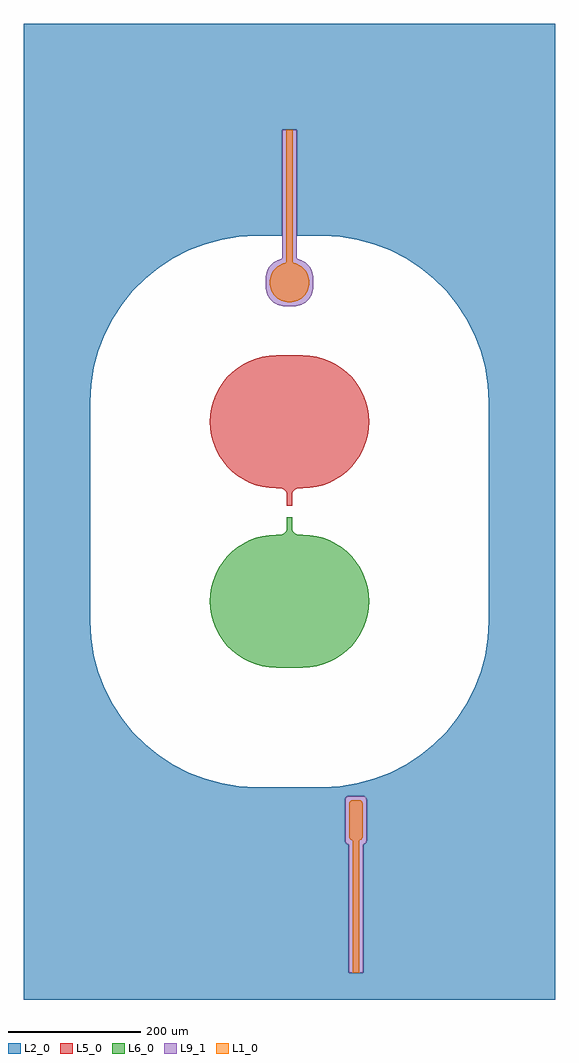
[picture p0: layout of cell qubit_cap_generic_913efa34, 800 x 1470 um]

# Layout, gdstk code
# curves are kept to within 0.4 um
from math import pi, radians
import gdstk
lib = gdstk.Library(unit=1e-6, precision=1e-09)
def R(c, l, rs):  # rectangles x0, y0, x1, y1
    for r in rs: c.add(gdstk.rectangle(r[:2], r[2:], *l))
def P(c, l, *ps):  # polygons
    for p in ps: c.add(gdstk.Polygon(p, *l))
L1_0 = (1, 0)
L2_0 = (2, 0)
L5_0 = (5, 0)
L6_0 = (6, 0)
L9_1 = (9, 1)

round_rectangle_471ba646 = lib.new_cell('round_rectangle_471ba646')
P(round_rectangle_471ba646, L5_0, [(-20,35),(20,35),(30.453,35.548),(40.791,37.185),(50.902,39.894),(60.674,43.645),(70,48.397),(78.779,54.098),(86.913,60.686),(94.314,68.087),(100.902,76.221),(106.603,85),(111.355,94.326),(115.106,104.098),(117.815,114.209),(119.452,124.547),(120,135),(119.452,145.453),(117.815,155.791),(115.106,165.902),(111.355,175.674),(106.603,185),(100.902,193.779),(94.314,201.913),(86.913,209.314),(78.779,215.902),(70,221.603),(60.674,226.355),(50.902,230.106),(40.791,232.815),(30.453,234.452),(20,235),(-20,235),(-30.453,234.452),(-40.791,232.815),(-50.902,230.106),(-60.674,226.355),(-70,221.603),(-78.779,215.902),(-86.913,209.314),(-94.314,201.913),(-100.902,193.779),(-106.603,185),(-111.355,175.674),(-115.106,165.902),(-117.815,155.791),(-119.452,145.453),(-120,135),(-119.452,124.547),(-117.815,114.209),(-115.106,104.098),(-111.355,94.326),(-106.603,85),(-100.902,76.221),(-94.314,68.087),(-86.913,60.686),(-78.779,54.098),(-70,48.397),(-60.674,43.645),(-50.902,39.894),(-40.791,37.185),(-30.453,35.548)])

round_rectangle_aa09f008 = lib.new_cell('round_rectangle_aa09f008')
R(round_rectangle_aa09f008, L5_0, [(-4,-13,4,13)])

fillet_cutout_90deg_1908 = lib.new_cell('fillet_cutout_90deg_19087955')
P(fillet_cutout_90deg_1908, L5_0, [(0,0),(7.071,7.071),(5.556,5.827),(3.827,4.903),(1.951,4.334),(0,4.142),(-1.951,4.334),(-3.827,4.903),(-5.556,5.827),(-7.071,7.071)])

fillet_cutout_90deg_7294 = lib.new_cell('fillet_cutout_90deg_72947cdf')
P(fillet_cutout_90deg_7294, L5_0, [(0,0),(-7.071,-7.071),(-5.556,-5.827),(-3.827,-4.903),(-1.951,-4.334),(0,-4.142),(1.951,-4.334),(3.827,-4.903),(5.556,-5.827),(7.071,-7.071)])

round_rectangle_4ce658cb = lib.new_cell('round_rectangle_4ce658cb')
P(round_rectangle_4ce658cb, L6_0, [(-20,-235),(20,-235),(30.453,-234.452),(40.791,-232.815),(50.902,-230.106),(60.674,-226.355),(70,-221.603),(78.779,-215.902),(86.913,-209.314),(94.314,-201.913),(100.902,-193.779),(106.603,-185),(111.355,-175.674),(115.106,-165.902),(117.815,-155.791),(119.452,-145.453),(120,-135),(119.452,-124.547),(117.815,-114.209),(115.106,-104.098),(111.355,-94.326),(106.603,-85),(100.902,-76.221),(94.314,-68.087),(86.913,-60.686),(78.779,-54.098),(70,-48.397),(60.674,-43.645),(50.902,-39.894),(40.791,-37.185),(30.453,-35.548),(20,-35),(-20,-35),(-30.453,-35.548),(-40.791,-37.185),(-50.902,-39.894),(-60.674,-43.645),(-70,-48.397),(-78.779,-54.098),(-86.913,-60.686),(-94.314,-68.087),(-100.902,-76.221),(-106.603,-85),(-111.355,-94.326),(-115.106,-104.098),(-117.815,-114.209),(-119.452,-124.547),(-120,-135),(-119.452,-145.453),(-117.815,-155.791),(-115.106,-165.902),(-111.355,-175.674),(-106.603,-185),(-100.902,-193.779),(-94.314,-201.913),(-86.913,-209.314),(-78.779,-215.902),(-70,-221.603),(-60.674,-226.355),(-50.902,-230.106),(-40.791,-232.815),(-30.453,-234.452)])

round_rectangle_922db8a5 = lib.new_cell('round_rectangle_922db8a5')
R(round_rectangle_922db8a5, L6_0, [(-4,-13,4,13)])

fillet_cutout_90deg_0e94 = lib.new_cell('fillet_cutout_90deg_0e94dd91')
P(fillet_cutout_90deg_0e94, L6_0, [(0,0),(7.071,7.071),(5.556,5.827),(3.827,4.903),(1.951,4.334),(0,4.142),(-1.951,4.334),(-3.827,4.903),(-5.556,5.827),(-7.071,7.071)])

fillet_cutout_90deg_25a9 = lib.new_cell('fillet_cutout_90deg_25a9f91b')
P(fillet_cutout_90deg_25a9, L6_0, [(0,0),(-7.071,-7.071),(-5.556,-5.827),(-3.827,-4.903),(-1.951,-4.334),(0,-4.142),(1.951,-4.334),(3.827,-4.903),(5.556,-5.827),(7.071,-7.071)])

round_rectangle_radius30 = lib.new_cell('round_rectangle_radius30_size60__60')
P(round_rectangle_radius30, L1_0, [(0,-30),(9.271,-28.532),(15,-25.981),(20.074,-22.294),(24.271,-17.634),(27.406,-12.202),(29.344,-6.237),(30,0),(28.532,9.271),(25.981,15),(22.294,20.074),(17.634,24.271),(12.202,27.406),(6.237,29.344),(0,30),(-9.271,28.532),(-15,25.981),(-20.074,22.294),(-24.271,17.634),(-27.406,12.202),(-29.344,6.237),(-30,0),(-28.532,-9.271),(-25.981,-15),(-22.294,-20.074),(-17.634,-24.271),(-12.202,-27.406),(-6.237,-29.344)])

straight_cpw_length_um20 = lib.new_cell('straight_cpw_length_um200p0')
R(straight_cpw_length_um20, L1_0, [(0,-5,200,5)])
R(straight_cpw_length_um20, L9_1, [(0,-11,200,11)])

round_rectangle_de56aac2 = lib.new_cell('round_rectangle_de56aac2')
P(round_rectangle_de56aac2, L9_1, [(-6,309),(9.136,309.164),(15.271,310.468),(21,313.019),(26.074,316.706),(30.271,321.366),(34.532,329.729),(35.836,335.864),(36,351),(35.344,357.237),(33.406,363.202),(30.271,368.634),(26.074,373.294),(21,376.981),(15.271,379.532),(9.136,380.836),(-6,381),(-12.237,380.344),(-18.202,378.406),(-23.634,375.271),(-28.294,371.074),(-31.981,366),(-34.532,360.271),(-35.836,354.136),(-35.836,335.864),(-34.532,329.729),(-31.981,324),(-28.294,318.926),(-21,313.019),(-15.271,310.468)])

round_rectangle_radius5p = lib.new_cell('round_rectangle_radius5p0_size20p0__60p0')
P(round_rectangle_radius5p, L1_0, [(-5,-30),(6.04,-29.891),(8.346,-28.716),(9.891,-26.04),(9.973,25.523),(8.716,28.346),(6.04,29.891),(-6.04,29.891),(-8.346,28.716),(-9.891,26.04),(-9.973,-25.523),(-8.346,-28.716)])

round_rectangle_c3cbfacc = lib.new_cell('round_rectangle_c3cbfacc')
P(round_rectangle_c3cbfacc, L9_1, [(89,-501),(111.523,-500.973),(114.346,-499.716),(115.755,-497.545),(116,-434),(115.045,-431.061),(112.545,-429.245),(88.477,-429.027),(85.654,-430.284),(84.245,-432.455),(84.027,-496.523),(85.654,-499.716)])

unnamed_b0fa954a = lib.new_cell('Unnamed_b0fa954a')
P(unnamed_b0fa954a, L2_0, [(400,735),(-400,735),(-400,-165),(-300,-165),(-300,165),(-298.63,191.132),(-294.537,216.978),(-287.764,242.254),(-278.386,266.684),(-266.506,290),(-252.254,311.946),(-235.786,332.283),(-217.283,350.786),(-196.946,367.254),(-175,381.506),(-151.684,393.386),(-127.254,402.764),(-101.978,409.537),(-76.132,413.63),(-50,415),(-11,415),(-11,575),(11,575),(11,415),(50,415),(76.132,413.63),(101.978,409.537),(127.254,402.764),(151.684,393.386),(175,381.506),(196.946,367.254),(217.283,350.786),(235.786,332.283),(252.254,311.946),(266.506,290),(278.386,266.684),(287.764,242.254),(294.537,216.978),(298.63,191.132),(300,165),(300,-165),(298.63,-191.132),(294.537,-216.978),(287.764,-242.254),(278.386,-266.684),(266.506,-290),(252.254,-311.946),(235.786,-332.283),(217.283,-350.786),(196.946,-367.254),(175,-381.506),(151.684,-393.386),(127.254,-402.764),(101.978,-409.537),(76.132,-413.63),(50,-415),(-50,-415),(-76.132,-413.63),(-101.978,-409.537),(-127.254,-402.764),(-151.684,-393.386),(-175,-381.506),(-196.946,-367.254),(-217.283,-350.786),(-235.786,-332.283),(-252.254,-311.946),(-266.506,-290),(-278.386,-266.684),(-287.764,-242.254),(-294.537,-216.978),(-298.63,-191.132),(-300,-165),(-400,-165),(-400,-496),(84,-496),(84,-434),(84.432,-431.966),(86.061,-429.955),(88.477,-429.027),(113.034,-429.432),(115.045,-431.061),(116,-434),(116,-496),(114.716,-499.346),(113.034,-500.568),(111,-501),(111,-695),(89,-695),(89,-501),(85.654,-499.716),(84.432,-498.034),(84,-496),(-400,-496),(-400,-735),(400,-735)])

qubit_cap_generic_913efa = lib.new_cell('qubit_cap_generic_913efa34')
qubit_cap_generic_913efa.add(gdstk.Reference(round_rectangle_471ba646, (0,0)))
qubit_cap_generic_913efa.add(gdstk.Reference(round_rectangle_aa09f008, (0,22)))
qubit_cap_generic_913efa.add(gdstk.Reference(fillet_cutout_90deg_1908, (4,35), rotation=radians(225)))
qubit_cap_generic_913efa.add(gdstk.Reference(fillet_cutout_90deg_7294, (-4,35), rotation=radians(315)))
qubit_cap_generic_913efa.add(gdstk.Reference(round_rectangle_4ce658cb, (0,0)))
qubit_cap_generic_913efa.add(gdstk.Reference(round_rectangle_922db8a5, (0,-22), rotation=pi))
qubit_cap_generic_913efa.add(gdstk.Reference(fillet_cutout_90deg_0e94, (-4,-35), rotation=radians(45)))
qubit_cap_generic_913efa.add(gdstk.Reference(fillet_cutout_90deg_25a9, (4,-35), rotation=radians(135)))
qubit_cap_generic_913efa.add(gdstk.Reference(round_rectangle_radius30, (0,345)))
qubit_cap_generic_913efa.add(gdstk.Reference(straight_cpw_length_um20, (0,375), rotation=pi/2))
qubit_cap_generic_913efa.add(gdstk.Reference(round_rectangle_de56aac2, (0,0)))
qubit_cap_generic_913efa.add(gdstk.Reference(round_rectangle_radius5p, (100,-465)))
qubit_cap_generic_913efa.add(gdstk.Reference(straight_cpw_length_um20, (100,-495), rotation=3*pi/2))
qubit_cap_generic_913efa.add(gdstk.Reference(round_rectangle_c3cbfacc, (0,0)))
qubit_cap_generic_913efa.add(gdstk.Reference(unnamed_b0fa954a, (0,0)))

lib.write_gds('qubit_cap_generic_913efa34.gds')
